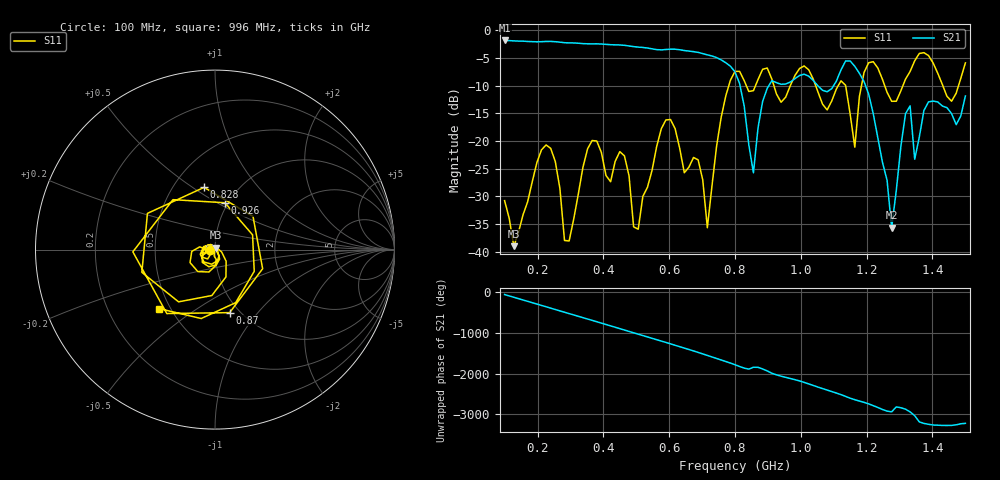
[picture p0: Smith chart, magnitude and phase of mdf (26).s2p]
! NanoVNA-App
! Date: 2025-09-25 15:38:38
! Start: 100MHz Stop: 1,5GHz Points: 101
! S-Parameter data: F S11 S21 S12 S22
# Hz S RI R 50
!  Frequency  S11_Real  S11_Imag  S21_Real  S21_Imag  S12_Real  S12_Imag  S22_Real  S22_Imag
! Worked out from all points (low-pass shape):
!   101 points, 100 MHz to 1.5 GHz, reference 50 ohm
!   highest |S21| = -1.80 dB at 100 MHz (marker M1); lowest = -35.6 dB at 1.276 GHz (marker M2)
!   |S21| within 3 dB of the highest: start of sweep to 739.3 MHz
!   lowest |S11| = -39.0 dB at 128 MHz (marker M3), VSWR 1.02, Z = 50.3 + j1.08 ohm
!   |S11| at or under -10 dB: start of sweep to 781 MHz; 1.045 GHz to 1.113 GHz (68.2 MHz wide, 6.32 % of centre); 1.255 GHz to 1.31 GHz (55 MHz wide, 4.29 % of centre) (the widest 3 of 7)
!   S12 and S22 are empty: the file has one direction only
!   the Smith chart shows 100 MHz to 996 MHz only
!   S11 on the Smith chart (normalised r, x): 100 MHz: 0.94, -0.01; 828 MHz: 0.70, +0.56; 870 MHz: 0.90, -0.73; 926 MHz: 0.97, +0.54; 996 MHz: 0.43, -0.36
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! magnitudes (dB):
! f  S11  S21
! 100 MHz  -30.8  -1.8
! 128 MHz  -39.0  -1.9
! 212 MHz  -21.6  -2.0
! 282 MHz  -38.0  -2.2
! 338 MHz  -24.7  -2.4
! 464 MHz  -22.7  -2.7
! 506 MHz  -35.9  -3.0
! 576 MHz  -17.8  -3.5
! 716 MHz  -35.6  -4.4
! 800 MHz  -7.4  -7.5
! 828 MHz  -9.1  -13.7
! 856 MHz  -10.9  -25.7
! 870 MHz  -8.9  -17.6
! 926 MHz  -11.5  -9.4
! 996 MHz  -6.9  -8.1
! 1.038 GHz  -8.8  -9.1
! 1.164 GHz  -21.1  -6.5
! 1.192 GHz  -7.6  -9.2
! 1.276 GHz  -12.8  -35.6
! 1.318 GHz  -8.8  -15.1
! 1.346 GHz  -5.5  -23.3
! 1.5 GHz  -5.9  -11.8
